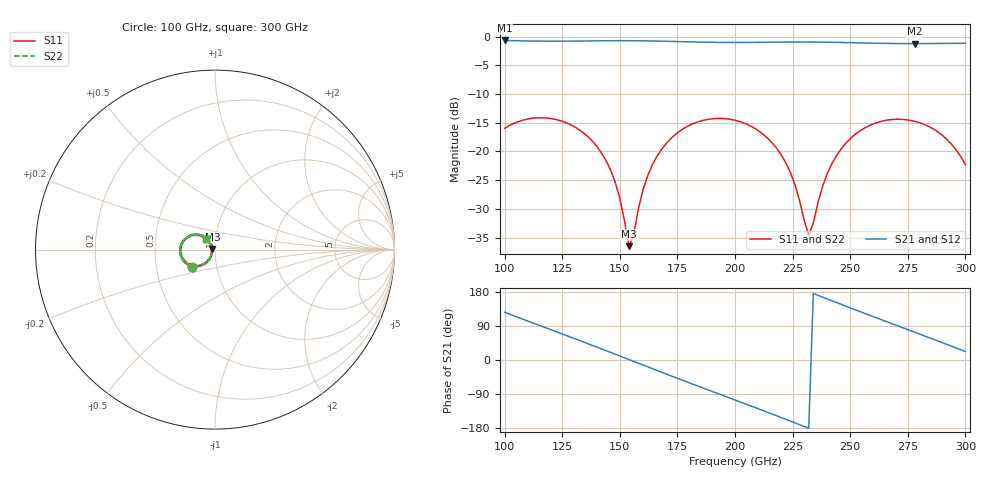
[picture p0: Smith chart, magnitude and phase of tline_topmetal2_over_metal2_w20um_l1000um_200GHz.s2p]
#  GHZ S DB R 50
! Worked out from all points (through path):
!   101 points, 100 GHz to 300 GHz, reference 50 ohm
!   highest |S21| = -0.65 dB at 100 GHz (marker M1); lowest = -1.2 dB at 278 GHz (marker M2)
!   group delay of S21, straight-line fit = 6.45 ps
!   lowest |S11| = -36.5 dB at 154 GHz (marker M3), VSWR 1.03, Z = 48.6 + j0.34 ohm
!   |S11| at or under -10 dB: start of sweep to end of sweep
!   |S22| runs from -36.4 to -14.1 dB; largest |S21 - S12| = 1.1e-14
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100  -15.96 -142.7  -0.65 126.0  -0.65 126.0  -15.96 -142.5
116  -14.12 -177.4  -0.76 89.3  -0.76 89.3  -14.12 -177.1
134  -16.68 144.5  -0.74 48.1  -0.74 48.1  -16.68 144.9
146  -23.23 123.8  -0.70 20.1  -0.70 20.1  -23.25 124.3
150  -28.15 124.1  -0.69 10.7  -0.69 10.7  -28.17 124.8
154  -36.50 166.5  -0.69 1.2  -0.69 1.2  -36.43 167.6
156  -34.66 -141.7  -0.70 -3.6  -0.70 -3.6  -34.54 -141.3
162  -24.33 -118.4  -0.73 -17.8  -0.73 -17.8  -24.29 -118.2
168  -19.70 -126.4  -0.77 -31.9  -0.77 -31.9  -19.68 -126.1
184  -14.82 -158.3  -0.92 -69.0  -0.92 -69.0  -14.81 -157.9
200  -14.55 168.3  -0.99 -105.5  -0.99 -105.5  -14.55 168.8
218  -19.41 133.5  -0.94 -147.0  -0.94 -147.0  -19.39 134.1
226  -25.76 126.8  -0.92 -165.8  -0.92 -165.8  -25.72 127.7
232  -34.53 178.8  -0.92 -180.0  -0.92 -180.0  -34.30 179.1
234  -32.45 -144.3  -0.92 175.3  -0.92 175.3  -32.32 -144.7
240  -23.90 -123.1  -0.95 161.1  -0.95 161.1  -23.89 -123.0
246  -19.58 -129.7  -1.00 147.0  -1.00 147.0  -19.58 -129.4
258  -15.54 -152.0  -1.10 119.1  -1.10 119.1  -15.54 -151.5
268  -14.43 -172.2  -1.17 96.2  -1.17 96.2  -14.43 -171.7
278  -14.74 167.5  -1.19 73.4  -1.19 73.4  -14.73 168.2
290  -17.18 144.4  -1.17 45.7  -1.17 45.7  -17.17 145.2
300  -22.28 130.3  -1.13 22.4  -1.13 22.4  -22.25 131.6
